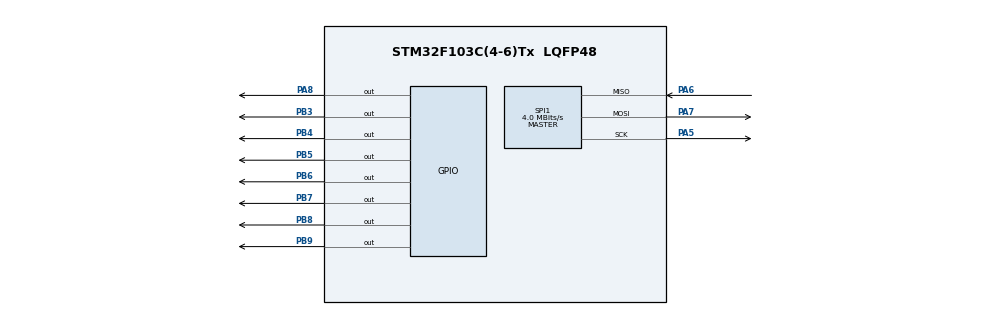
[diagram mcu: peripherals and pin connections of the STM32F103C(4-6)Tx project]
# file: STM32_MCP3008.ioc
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Mcu.Family=STM32F1
Mcu.Name=STM32F103C(4-6)Tx
Mcu.Package=LQFP48
NVIC.PriorityGroup=NVIC_PRIORITYGROUP_4
PA5.Mode=Full_Duplex_Master
PA5.Signal=SPI1_SCK
PA6.Mode=Full_Duplex_Master
PA6.Signal=SPI1_MISO
PA7.Mode=Full_Duplex_Master
PA7.Signal=SPI1_MOSI
PA8.Signal=GPIO_Output
PB3.Signal=GPIO_Output
PB4.Signal=GPIO_Output
PB5.Signal=GPIO_Output
PB6.Signal=GPIO_Output
PB7.Signal=GPIO_Output
PB8.Signal=GPIO_Output
PB9.Signal=GPIO_Output
ProjectManager.HeapSize=0x200
ProjectManager.StackSize=0x400
ProjectManager.TargetToolchain=STM32CubeIDE
RCC.APB1Freq_Value=8000000
RCC.APB2Freq_Value=8000000
SPI1.CalculateBaudRate=4.0 MBits/s
SPI1.Direction=SPI_DIRECTION_2LINES
SPI1.Mode=SPI_MODE_MASTER
SPI1.VirtualType=VM_MASTER
VP_SYS_VS_ND.Mode=No_Debug
board=custom

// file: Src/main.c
/* USER CODE BEGIN Header */
/**
  ******************************************************************************
  * @file           : main.c
  * @brief          : Main program body
  ******************************************************************************
  * @attention
  *
  * <h2><center>&copy; Copyright (c) 2023 STMicroelectronics.
  * All rights reserved.</center></h2>
  *
  * This software component is licensed by ST under BSD 3-Clause license,
  * the "License"; You may not use this file except in compliance with the
  * License. You may obtain a copy of the License at:
  *                        opensource.org/licenses/BSD-3-Clause
  *
  ******************************************************************************
  */
/* USER CODE END Header */

#include "main.h"

/* USER CODE BEGIN Includes */
#include "MCP3008.h"
#include "LiquidCrystal.h"
#include "stdio.h"
/* USER CODE END Includes */

SPI_HandleTypeDef hspi1;

/* USER CODE BEGIN PV */
MCP3008_SPI spi_mpc3008;
uint16_t adc0,adc1,adc2,adc3;
char MSG_0[20];
char MSG_1[20];
char MSG_2[20];
char MSG_3[20];
float result_0,result_1,result_2,result_3;
/* USER CODE END PV */

void SystemClock_Config(void);
static void MX_GPIO_Init(void);
static void MX_SPI1_Init(void);

int main(void)
{

  /* MCU Configuration--------------------------------------------------------*/

  /* Reset of all peripherals, Initializes the Flash interface and the Systick. */
  HAL_Init();

  /* Configure the system clock */
  SystemClock_Config();

  /* Initialize all configured peripherals */
  MX_GPIO_Init();
  MX_SPI1_Init();
  /* USER CODE BEGIN 2 */

  MCP3008_Init(&spi_mpc3008, &hspi1, GPIOA, GPIO_PIN_8);
  LiquidCrystal(GPIOB, GPIO_PIN_3,GPIO_PIN_4,GPIO_PIN_5,GPIO_PIN_6 ,GPIO_PIN_7,GPIO_PIN_8,GPIO_PIN_9);
  begin(20, 4);
  /* USER CODE END 2 */

  /* Infinite loop */
  while (1)
  {

    /* USER CODE BEGIN 3 */
    // Read ADC's
       adc0 = MCP3008_Read_Channel(&spi_mpc3008, 0); // Channel 0
       adc1 = MCP3008_Read_Channel(&spi_mpc3008, 1); // Channel 1
       adc2 = MCP3008_Read_Channel(&spi_mpc3008, 2); // Channel 2
       adc3 = MCP3008_Read_Channel(&spi_mpc3008, 3); // Channel 3

      result_0 = (float)adc0;
      result_1 = (float)adc1;
      result_2 = (float)adc2;
      result_3 = (float)adc3;

      result_0=result_0/200;
      result_1=result_1/200;
      result_2=result_2/200;
      result_3=result_3/200;

      sprintf(MSG_0,"ADC0 Value = %.2f",result_0);
      setCursor(0,0);
      print(MSG_0);
      sprintf(MSG_1,"ADC1 Value = %.2f",result_1);
      setCursor(0,1);
      print(MSG_1);
      sprintf(MSG_2,"ADC2 Value = %.2f",result_2);
      setCursor(0,2);
      print(MSG_2);
      sprintf(MSG_3,"ADC3 Value = %.2f",result_3);
      setCursor(0,3);
      print(MSG_3);

  }
  /* USER CODE END 3 */
}

void SystemClock_Config(void)
{
  RCC_OscInitTypeDef RCC_OscInitStruct = {0};
  RCC_ClkInitTypeDef RCC_ClkInitStruct = {0};

  /** Initializes the CPU, AHB and APB busses clocks
  */
  RCC_OscInitStruct.OscillatorType = RCC_OSCILLATORTYPE_HSI;
  RCC_OscInitStruct.HSIState = RCC_HSI_ON;
  RCC_OscInitStruct.HSICalibrationValue = RCC_HSICALIBRATION_DEFAULT;
  RCC_OscInitStruct.PLL.PLLState = RCC_PLL_NONE;
  if (HAL_RCC_OscConfig(&RCC_OscInitStruct) != HAL_OK)
  {
    Error_Handler();
  }
  /** Initializes the CPU, AHB and APB busses clocks
  */
  RCC_ClkInitStruct.ClockType = RCC_CLOCKTYPE_HCLK|RCC_CLOCKTYPE_SYSCLK
                              |RCC_CLOCKTYPE_PCLK1|RCC_CLOCKTYPE_PCLK2;
  RCC_ClkInitStruct.SYSCLKSource = RCC_SYSCLKSOURCE_HSI;
  RCC_ClkInitStruct.AHBCLKDivider = RCC_SYSCLK_DIV1;
  RCC_ClkInitStruct.APB1CLKDivider = RCC_HCLK_DIV1;
  RCC_ClkInitStruct.APB2CLKDivider = RCC_HCLK_DIV1;

  if (HAL_RCC_ClockConfig(&RCC_ClkInitStruct, FLASH_LATENCY_0) != HAL_OK)
  {
    Error_Handler();
  }
}

static void MX_SPI1_Init(void)
{

  /* SPI1 parameter configuration*/
  hspi1.Instance = SPI1;
  hspi1.Init.Mode = SPI_MODE_MASTER;
  hspi1.Init.Direction = SPI_DIRECTION_2LINES;
  hspi1.Init.DataSize = SPI_DATASIZE_8BIT;
  hspi1.Init.CLKPolarity = SPI_POLARITY_LOW;
  hspi1.Init.CLKPhase = SPI_PHASE_1EDGE;
  hspi1.Init.NSS = SPI_NSS_SOFT;
  hspi1.Init.BaudRatePrescaler = SPI_BAUDRATEPRESCALER_2;
  hspi1.Init.FirstBit = SPI_FIRSTBIT_MSB;
  hspi1.Init.TIMode = SPI_TIMODE_DISABLE;
  hspi1.Init.CRCCalculation = SPI_CRCCALCULATION_DISABLE;
  hspi1.Init.CRCPolynomial = 10;
  if (HAL_SPI_Init(&hspi1) != HAL_OK)
  {
    Error_Handler();
  }

}

static void MX_GPIO_Init(void)
{
  GPIO_InitTypeDef GPIO_InitStruct = {0};

  /* GPIO Ports Clock Enable */
  __HAL_RCC_GPIOA_CLK_ENABLE();

  /*Configure GPIO pin Output Level */
  HAL_GPIO_WritePin(GPIOA, GPIO_PIN_8, GPIO_PIN_RESET);

  /*Configure GPIO pin : PA8 */
  GPIO_InitStruct.Pin = GPIO_PIN_8;
  GPIO_InitStruct.Mode = GPIO_MODE_OUTPUT_PP;
  GPIO_InitStruct.Pull = GPIO_NOPULL;
  GPIO_InitStruct.Speed = GPIO_SPEED_FREQ_LOW;
  HAL_GPIO_Init(GPIOA, &GPIO_InitStruct);

}

void Error_Handler(void)
{
}

/************************ (C) COPYRIGHT STMicroelectronics *****END OF FILE****/
